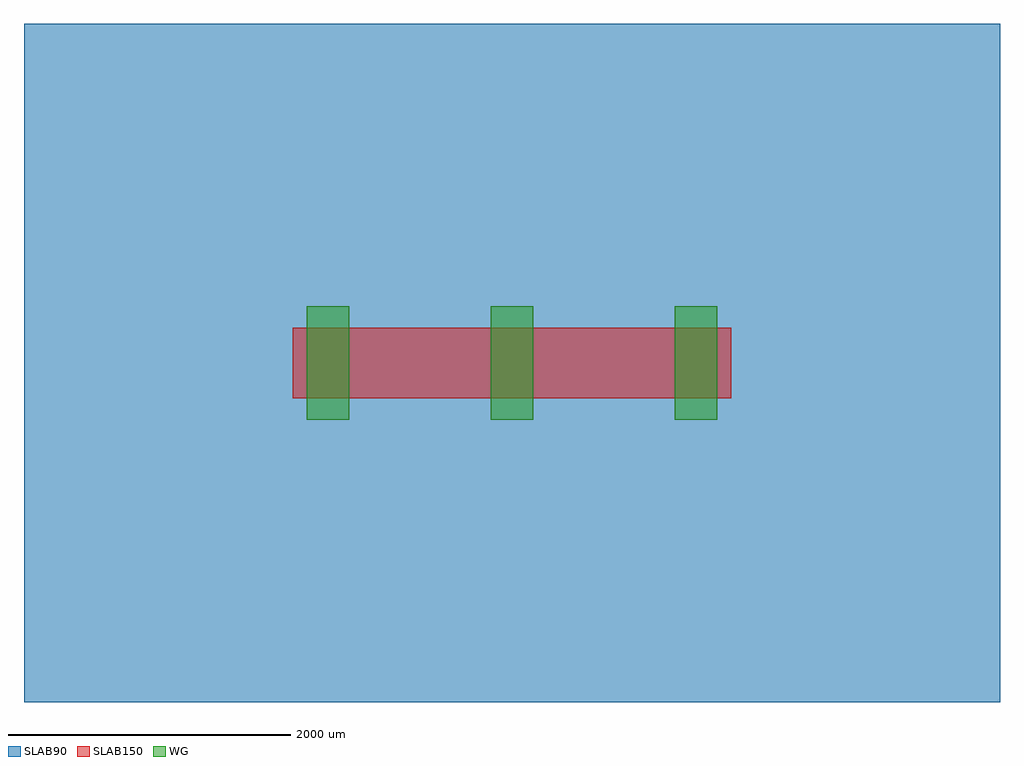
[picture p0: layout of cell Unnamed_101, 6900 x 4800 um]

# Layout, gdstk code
import gdstk
lib = gdstk.Library(unit=1e-6, precision=1e-09)
def R(c, l, rs):  # rectangles x0, y0, x1, y1
    for r in rs: c.add(gdstk.rectangle(r[:2], r[2:], *l))
def A(c, l, x, y, w, h, nx, ny, dx, dy):  # array of equal rectangles
    R(c, l, [(x+i*dx, y+j*dy, x+i*dx+w, y+j*dy+h) for i in range(nx) for j in range(ny)])
WG = (1, 0)
SLAB150 = (2, 0)
SLAB90 = (3, 0)

rectangle_gdsfactorypco_ = lib.new_cell('rectangle_gdsfactorypco_d7a62ac7')
R(rectangle_gdsfactorypco_, SLAB150, [(0,0,3100,500)])

c_rectangle_gdsfactorypco_ = lib.new_cell('rectangle_gdsfactorypco_f723c1cb')
R(c_rectangle_gdsfactorypco_, WG, [(0,0,300,800)])

unnamed_101 = lib.new_cell('Unnamed_101')
A(unnamed_101, SLAB90, -2000, -2000, 4300, 4800, 3, 1, 1300, 0)
unnamed_101.add(gdstk.Reference(rectangle_gdsfactorypco_, (-100,150)))
unnamed_101.add(gdstk.Reference(c_rectangle_gdsfactorypco_, (0,0)))
unnamed_101.add(gdstk.Reference(c_rectangle_gdsfactorypco_, (1300,0)))
unnamed_101.add(gdstk.Reference(c_rectangle_gdsfactorypco_, (2600,0)))

lib.write_gds('Unnamed_101.gds')
